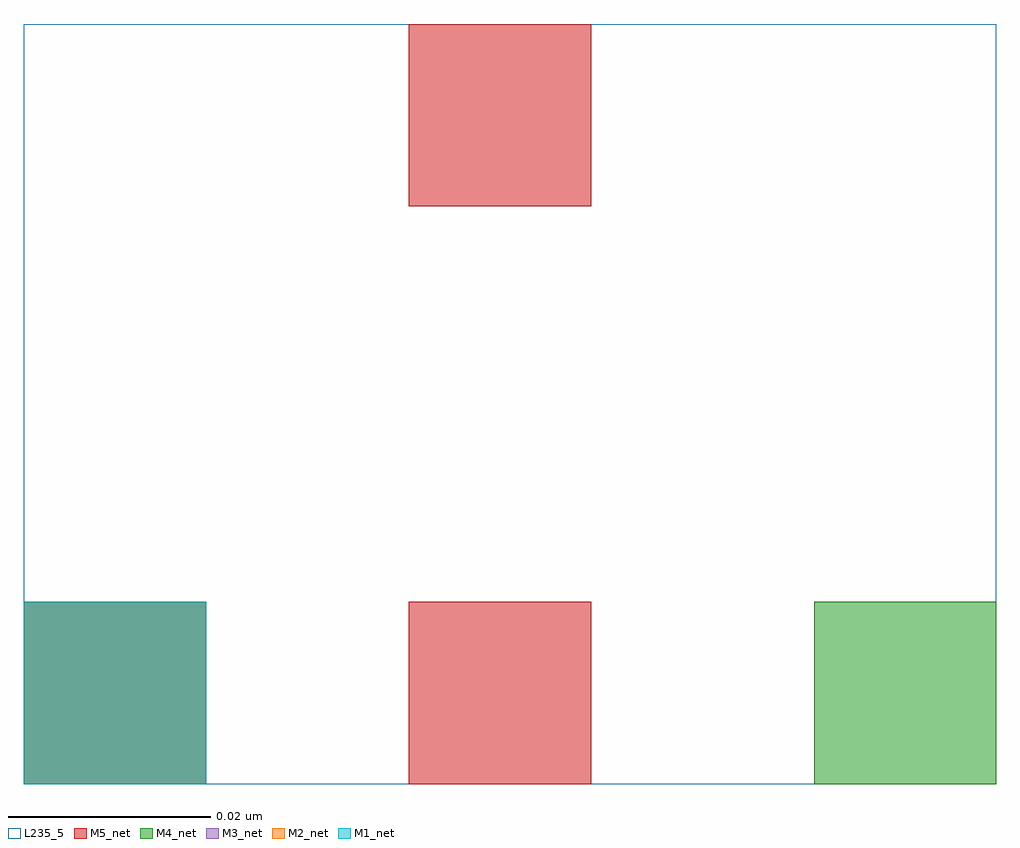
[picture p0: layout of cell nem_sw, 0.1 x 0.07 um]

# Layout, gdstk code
import gdstk
lib = gdstk.Library(unit=1e-6, precision=2.5e-10)
def R(c, l, rs):  # rectangles x0, y0, x1, y1
    for r in rs: c.add(gdstk.rectangle(r[:2], r[2:], *l))
M1_net = (19, 3)
M2_net = (20, 3)
M3_net = (30, 3)
M4_net = (40, 3)
M5_net = (50, 3)
L235_5 = (235, 5)

nem_sw = lib.new_cell('nem_sw')
R(nem_sw, M1_net, [(0,0,0.018,0.018)])
R(nem_sw, M2_net, [(0,0,0.018,0.018)])
R(nem_sw, M3_net, [(0,0,0.018,0.018)])
R(nem_sw, M4_net, [(0,0,0.018,0.018), (0.078,0,0.096,0.018)])
R(nem_sw, M5_net, [(0.038,0,0.056,0.018), (0.038,0.057,0.056,0.075)])
R(nem_sw, L235_5, [(0,0,0.096,0.075)])

lib.write_gds('nem_sw.gds')
